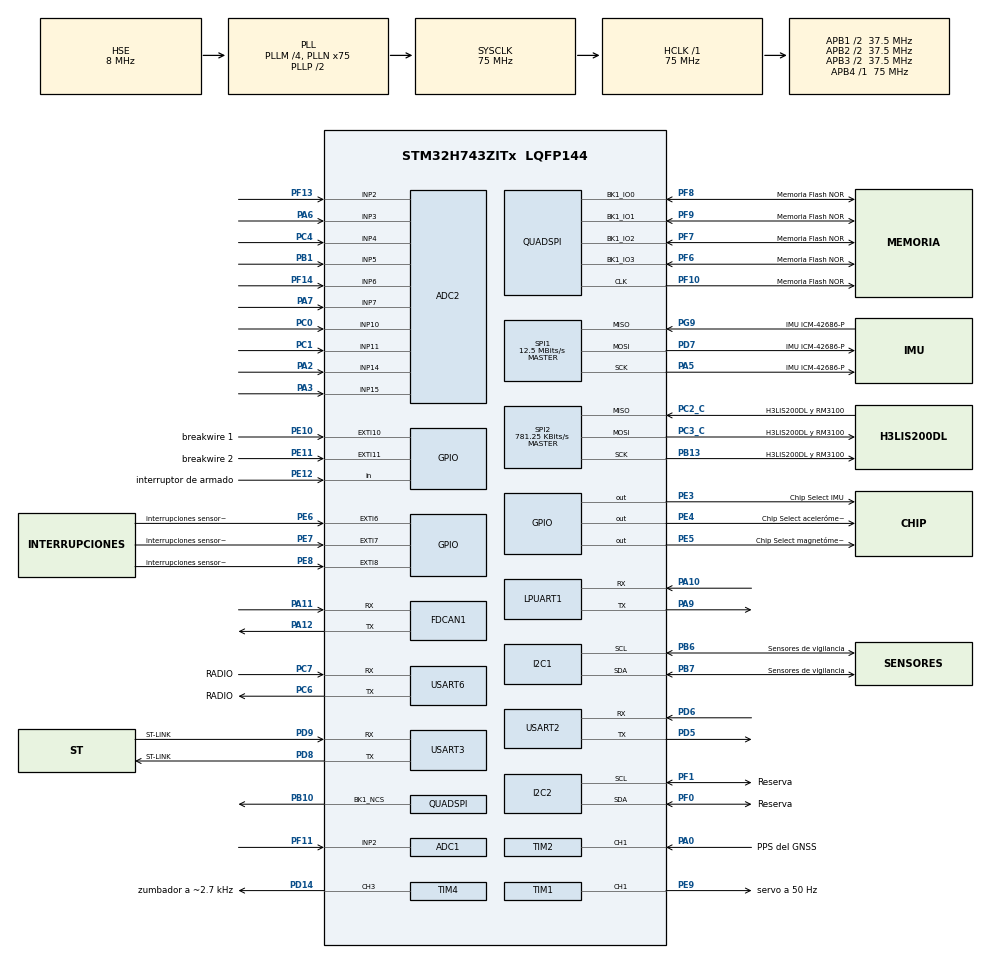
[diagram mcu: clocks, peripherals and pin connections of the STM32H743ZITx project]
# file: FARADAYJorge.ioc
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ADC1.Channel-0\#ChannelRegularConversion=ADC_CHANNEL_2
ADC1.ClockPrescaler=ADC_CLOCK_ASYNC_DIV4
ADC1.NbrOfConversionFlag=1
ADC1.OffsetNumber-0\#ChannelRegularConversion=ADC_OFFSET_NONE
ADC1.OffsetSignedSaturation-0\#ChannelRegularConversion=DISABLE
ADC1.Rank-0\#ChannelRegularConversion=1
ADC1.SamplingTime-0\#ChannelRegularConversion=ADC_SAMPLETIME_64CYCLES_5
ADC1.master=1
ADC2.Channel-1\#ChannelRegularConversion=ADC_CHANNEL_2
ADC2.Channel-10\#ChannelRegularConversion=ADC_CHANNEL_15
ADC2.Channel-2\#ChannelRegularConversion=ADC_CHANNEL_3
ADC2.Channel-3\#ChannelRegularConversion=ADC_CHANNEL_4
ADC2.Channel-4\#ChannelRegularConversion=ADC_CHANNEL_5
ADC2.Channel-5\#ChannelRegularConversion=ADC_CHANNEL_6
ADC2.Channel-6\#ChannelRegularConversion=ADC_CHANNEL_7
ADC2.Channel-7\#ChannelRegularConversion=ADC_CHANNEL_10
ADC2.Channel-8\#ChannelRegularConversion=ADC_CHANNEL_11
ADC2.Channel-9\#ChannelRegularConversion=ADC_CHANNEL_14
ADC2.ClockPrescaler=ADC_CLOCK_ASYNC_DIV4
ADC2.NbrOfConversion=10
ADC2.NbrOfConversionFlag=1
ADC2.OffsetNumber-1\#ChannelRegularConversion=ADC_OFFSET_NONE
ADC2.OffsetNumber-10\#ChannelRegularConversion=ADC_OFFSET_NONE
ADC2.OffsetNumber-2\#ChannelRegularConversion=ADC_OFFSET_NONE
ADC2.OffsetNumber-3\#ChannelRegularConversion=ADC_OFFSET_NONE
ADC2.OffsetNumber-4\#ChannelRegularConversion=ADC_OFFSET_NONE
ADC2.OffsetNumber-5\#ChannelRegularConversion=ADC_OFFSET_NONE
ADC2.OffsetNumber-6\#ChannelRegularConversion=ADC_OFFSET_NONE
ADC2.OffsetNumber-7\#ChannelRegularConversion=ADC_OFFSET_NONE
ADC2.OffsetNumber-8\#ChannelRegularConversion=ADC_OFFSET_NONE
ADC2.OffsetNumber-9\#ChannelRegularConversion=ADC_OFFSET_NONE
ADC2.OffsetSignedSaturation-1\#ChannelRegularConversion=DISABLE
ADC2.OffsetSignedSaturation-10\#ChannelRegularConversion=DISABLE
ADC2.OffsetSignedSaturation-2\#ChannelRegularConversion=DISABLE
ADC2.OffsetSignedSaturation-3\#ChannelRegularConversion=DISABLE
ADC2.OffsetSignedSaturation-4\#ChannelRegularConversion=DISABLE
ADC2.OffsetSignedSaturation-5\#ChannelRegularConversion=DISABLE
ADC2.OffsetSignedSaturation-6\#ChannelRegularConversion=DISABLE
ADC2.OffsetSignedSaturation-7\#ChannelRegularConversion=DISABLE
ADC2.OffsetSignedSaturation-8\#ChannelRegularConversion=DISABLE
ADC2.OffsetSignedSaturation-9\#ChannelRegularConversion=DISABLE
ADC2.Rank-1\#ChannelRegularConversion=1
ADC2.Rank-10\#ChannelRegularConversion=10
ADC2.Rank-2\#ChannelRegularConversion=2
ADC2.Rank-3\#ChannelRegularConversion=3
ADC2.Rank-4\#ChannelRegularConversion=4
ADC2.Rank-5\#ChannelRegularConversion=5
ADC2.Rank-6\#ChannelRegularConversion=6
ADC2.Rank-7\#ChannelRegularConversion=7
ADC2.Rank-8\#ChannelRegularConversion=8
ADC2.Rank-9\#ChannelRegularConversion=9
ADC2.SamplingTime-1\#ChannelRegularConversion=ADC_SAMPLETIME_64CYCLES_5
ADC2.SamplingTime-10\#ChannelRegularConversion=ADC_SAMPLETIME_64CYCLES_5
ADC2.SamplingTime-2\#ChannelRegularConversion=ADC_SAMPLETIME_64CYCLES_5
ADC2.SamplingTime-3\#ChannelRegularConversion=ADC_SAMPLETIME_64CYCLES_5
ADC2.SamplingTime-4\#ChannelRegularConversion=ADC_SAMPLETIME_64CYCLES_5
ADC2.SamplingTime-5\#ChannelRegularConversion=ADC_SAMPLETIME_64CYCLES_5
ADC2.SamplingTime-6\#ChannelRegularConversion=ADC_SAMPLETIME_64CYCLES_5
ADC2.SamplingTime-7\#ChannelRegularConversion=ADC_SAMPLETIME_64CYCLES_5
ADC2.SamplingTime-8\#ChannelRegularConversion=ADC_SAMPLETIME_64CYCLES_5
ADC2.SamplingTime-9\#ChannelRegularConversion=ADC_SAMPLETIME_64CYCLES_5
ADC2.ScanConvMode=ADC_SCAN_ENABLE
CORTEX_M7.default_mode_Activation=1
FDCAN1.CalculateBaudRateNominal=500000
FDCAN1.CalculateTimeBitNominal=2000
FDCAN1.CalculateTimeQuantumNominal=100.0
FDCAN1.NominalPrescaler=5
FDCAN1.NominalSyncJumpWidth=3
FDCAN1.NominalTimeSeg1=16
FDCAN1.NominalTimeSeg2=3
FDCAN1.RxFifo0ElmtsNbr=8
FDCAN1.StdFiltersNbr=1
FDCAN1.TxFifoQueueElmtsNbr=8
I2C1.Timing=0x00909FCE
I2C2.Timing=0x00909FCE
Mcu.Family=STM32H7
Mcu.Name=STM32H743ZITx
Mcu.Package=LQFP144
NVIC.EXTI15_10_IRQn=true\:0\:0\:false\:false\:true\:true\:true\:true
NVIC.EXTI9_5_IRQn=true\:0\:0\:false\:false\:true\:true\:true\:true
NVIC.PriorityGroup=NVIC_PRIORITYGROUP_4
PA0.GPIO_Label=PPS del GNSS
PA0.Signal=S_TIM2_CH1_ETR
PA10.Mode=Asynchronous
PA10.Signal=LPUART1_RX
PA11.Mode=FDCAN_Activate
PA11.Signal=FDCAN1_RX
PA12.Mode=FDCAN_Activate
PA12.Signal=FDCAN1_TX
PA13\ (JTMS/SWDIO).Signal=DEBUG_JTMS-SWDIO
PA14\ (JTCK/SWCLK).Signal=DEBUG_JTCK-SWCLK
PA2.Signal=ADCx_INP14
PA3.Signal=ADCx_INP15
PA5.GPIO_Label=IMU ICM-42686-P
PA5.Mode=Full_Duplex_Master
PA5.Signal=SPI1_SCK
PA6.Signal=ADCx_INP3
PA7.Signal=ADCx_INP7
PA9.Mode=Asynchronous
PA9.Signal=LPUART1_TX
PB1.Signal=ADCx_INP5
PB10.Mode=Single Bank 1
PB10.Signal=QUADSPI_BK1_NCS
PB13.GPIO_Label=H3LIS200DL y RM3100
PB13.Mode=Full_Duplex_Master
PB13.Signal=SPI2_SCK
PB6.GPIO_Label=Sensores de vigilancia
PB6.Mode=I2C
PB6.Signal=I2C1_SCL
PB7.GPIO_Label=Sensores de vigilancia
PB7.Mode=I2C
PB7.Signal=I2C1_SDA
PC0.Signal=ADCx_INP10
PC1.Signal=ADCx_INP11
PC2_C.GPIO_Label=H3LIS200DL y RM3100
PC2_C.Mode=Full_Duplex_Master
PC2_C.Signal=SPI2_MISO
PC3_C.GPIO_Label=H3LIS200DL y RM3100
PC3_C.Mode=Full_Duplex_Master
PC3_C.Signal=SPI2_MOSI
PC4.Signal=ADCx_INP4
PC6.GPIO_Label=RADIO
PC6.Mode=Asynchronous
PC6.Signal=USART6_TX
PC7.GPIO_Label=RADIO
PC7.Mode=Asynchronous
PC7.Signal=USART6_RX
PD14.GPIO_Label=zumbador a ~2.7 kHz
PD14.Signal=S_TIM4_CH3
PD5.Mode=Asynchronous
PD5.Signal=USART2_TX
PD6.Mode=Asynchronous
PD6.Signal=USART2_RX
PD7.GPIO_Label=IMU ICM-42686-P
PD7.Mode=Full_Duplex_Master
PD7.Signal=SPI1_MOSI
PD8.GPIO_Label=ST-LINK
PD8.Mode=Asynchronous
PD8.Signal=USART3_TX
PD9.GPIO_Label=ST-LINK
PD9.Mode=Asynchronous
PD9.Signal=USART3_RX
PE10.GPIO_Label=breakwire 1
PE10.GPIO_ModeDefaultEXTI=GPIO_MODE_IT_RISING_FALLING
PE10.GPIO_PuPd=GPIO_PULLUP
PE10.Signal=GPXTI10
PE11.GPIO_Label=breakwire 2
PE11.GPIO_ModeDefaultEXTI=GPIO_MODE_IT_RISING_FALLING
PE11.GPIO_PuPd=GPIO_PULLUP
PE11.Signal=GPXTI11
PE12.GPIO_Label=interruptor de armado
PE12.GPIO_PuPd=GPIO_PULLUP
PE12.Signal=GPIO_Input
PE3.GPIO_Label=Chip Select IMU
PE3.PinState=GPIO_PIN_SET
PE3.Signal=GPIO_Output
PE4.GPIO_Label=Chip Select aceler\u00F3metro de altas g
PE4.PinState=GPIO_PIN_SET
PE4.Signal=GPIO_Output
PE5.GPIO_Label=Chip Select magnet\u00F3metro
PE5.PinState=GPIO_PIN_SET
PE5.Signal=GPIO_Output
PE6.GPIO_Label=interrupciones sensores
PE6.Signal=GPXTI6
PE7.GPIO_Label=interrupciones sensores
PE7.Signal=GPXTI7
PE8.GPIO_Label=interrupciones sensores
PE8.Signal=GPXTI8
PE9.GPIO_Label=servo a 50 Hz
PE9.Signal=S_TIM1_CH1
PF0.GPIO_Label=Reserva
PF0.Mode=I2C
PF0.Signal=I2C2_SDA
PF1.GPIO_Label=Reserva
PF1.Mode=I2C
PF1.Signal=I2C2_SCL
PF10.GPIO_Label=Memoria Flash NOR
PF10.Mode=Single Bank 1
PF10.Signal=QUADSPI_CLK
PF11.Mode=IN2-Single-Ended
PF11.Signal=ADC1_INP2
PF13.Mode=IN2-Single-Ended
PF13.Signal=ADC2_INP2
PF14.Mode=IN6-Single-Ended
PF14.Signal=ADC2_INP6
PF6.GPIO_Label=Memoria Flash NOR
PF6.Mode=Single Bank 1
PF6.Signal=QUADSPI_BK1_IO3
PF7.GPIO_Label=Memoria Flash NOR
PF7.Mode=Single Bank 1
PF7.Signal=QUADSPI_BK1_IO2
PF8.GPIO_Label=Memoria Flash NOR
PF8.Mode=Single Bank 1
PF8.Signal=QUADSPI_BK1_IO0
PF9.GPIO_Label=Memoria Flash NOR
PF9.Mode=Single Bank 1
PF9.Signal=QUADSPI_BK1_IO1
PG9.GPIO_Label=IMU ICM-42686-P
PG9.Mode=Full_Duplex_Master
PG9.Signal=SPI1_MISO
PH0-OSC_IN\ (PH0).Mode=HSE-External-Clock-Source
PH0-OSC_IN\ (PH0).Signal=RCC_OSC_IN
PH1-OSC_OUT\ (PH1).Signal=RCC_OSC_OUT
ProjectManager.HeapSize=0x200
ProjectManager.StackSize=0x400
ProjectManager.TargetToolchain=STM32CubeIDE
RCC.ADCFreq_Value=75000000
RCC.APB1Freq_Value=37500000
RCC.APB2Freq_Value=37500000
RCC.APB3Freq_Value=37500000
RCC.APB4Freq_Value=75000000
RCC.CortexFreq_Value=75000000
RCC.D1PPRE=RCC_APB3_DIV2
RCC.D2PPRE1=RCC_APB1_DIV2
RCC.D2PPRE2=RCC_APB2_DIV2
RCC.DIVM1=4
RCC.DIVM2=4
RCC.DIVN1=75
RCC.DIVN2=75
RCC.DIVQ1=3
RCC.HCLKFreq_Value=75000000
RCC.HSE_VALUE=8000000
RCC.PLL1_VCI_Range=RCC_PLL1VCIRANGE_1
RCC.PLL2FRACN=0
RCC.PLL2_VCI_Range=RCC_PLL2VCIRANGE_1
RCC.PLL2_VCI_Range-AdvancedSettings=RCC_PLL2VCIRANGE_0
RCC.PLL3FRACN=0
RCC.PLL3_VCI_Range-AdvancedSettings=RCC_PLL3VCIRANGE_0
RCC.PLLFRACN=0
RCC.PLLSourceVirtual=RCC_PLLSOURCE_HSE
RCC.SYSCLKFreq_VALUE=75000000
RCC.SYSCLKSource=RCC_SYSCLKSOURCE_PLLCLK
RCC.USBFreq_Value=50000000
SH.ADCx_INP10.0=ADC2_INP10,IN10-Single-Ended
SH.ADCx_INP11.0=ADC2_INP11,IN11-Single-Ended
SH.ADCx_INP14.0=ADC2_INP14,IN14-Single-Ended
SH.ADCx_INP15.0=ADC2_INP15,IN15-Single-Ended
SH.ADCx_INP3.0=ADC2_INP3,IN3-Single-Ended
SH.ADCx_INP4.0=ADC2_INP4,IN4-Single-Ended
SH.ADCx_INP5.0=ADC2_INP5,IN5-Single-Ended
SH.ADCx_INP7.0=ADC2_INP7,IN7-Single-Ended
SH.S_TIM1_CH1.0=TIM1_CH1,PWM Generation1 CH1
SH.S_TIM2_CH1_ETR.0=TIM2_CH1,Input_Capture1_from_TI1
SH.S_TIM4_CH3.0=TIM4_CH3,PWM Generation3 CH3
SPI1.BaudRatePrescaler=SPI_BAUDRATEPRESCALER_4
SPI1.CLKPhase=SPI_PHASE_2EDGE
SPI1.CLKPolarity=SPI_POLARITY_HIGH
SPI1.CalculateBaudRate=12.5 MBits/s
SPI1.DataSize=SPI_DATASIZE_8BIT
SPI1.Direction=SPI_DIRECTION_2LINES
SPI1.MasterKeepIOState=SPI_MASTER_KEEP_IO_STATE_ENABLE
SPI1.Mode=SPI_MODE_MASTER
SPI1.VirtualType=VM_MASTER
SPI2.BaudRatePrescaler=SPI_BAUDRATEPRESCALER_64
SPI2.CLKPhase=SPI_PHASE_2EDGE
SPI2.CLKPolarity=SPI_POLARITY_HIGH
SPI2.CalculateBaudRate=781.25 KBits/s
SPI2.DataSize=SPI_DATASIZE_8BIT
SPI2.Direction=SPI_DIRECTION_2LINES
SPI2.MasterKeepIOState=SPI_MASTER_KEEP_IO_STATE_ENABLE
SPI2.Mode=SPI_MODE_MASTER
SPI2.VirtualType=VM_MASTER
TIM1.Channel-PWM\ Generation1\ CH1=TIM_CHANNEL_1
TIM1.Period=19999
TIM1.Prescaler=74
TIM1.Pulse-PWM\ Generation1\ CH1=1500
TIM2.Channel-Input_Capture1_from_TI1=TIM_CHANNEL_1
TIM2.Prescaler=74
TIM4.Channel-PWM\ Generation3\ CH3=TIM_CHANNEL_3
TIM4.Period=369
TIM4.Prescaler=74
TIM4.Pulse-PWM\ Generation3\ CH3=185
USART2.VirtualMode-Asynchronous=VM_ASYNC
USART3.VirtualMode-Asynchronous=VM_ASYNC
USART6.VirtualMode-Asynchronous=VM_ASYNC
VP_MEMORYMAP_VS_MEMORYMAP.Mode=CurAppReg
board=custom

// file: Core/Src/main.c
/* USER CODE BEGIN Header */
/**
  ******************************************************************************
  * @file           : main.c
  * @brief          : Main program body
  ******************************************************************************
  * @attention
  *
  * Copyright (c) 2026 STMicroelectronics.
  * All rights reserved.
  *
  * This software is licensed under terms that can be found in the LICENSE file
  * in the root directory of this software component.
  * If no LICENSE file comes with this software, it is provided AS-IS.
  *
  ******************************************************************************
  */
/* USER CODE END Header */
#include "main.h"

/* USER CODE BEGIN Includes */
#include <stdio.h>
#include "sensors/sensors.h"
/* USER CODE END Includes */

ADC_HandleTypeDef hadc1;
ADC_HandleTypeDef hadc2;

FDCAN_HandleTypeDef hfdcan1;

I2C_HandleTypeDef hi2c1;
I2C_HandleTypeDef hi2c2;

UART_HandleTypeDef hlpuart1;
UART_HandleTypeDef huart2;
UART_HandleTypeDef huart3;
UART_HandleTypeDef huart6;

QSPI_HandleTypeDef hqspi;

SPI_HandleTypeDef hspi1;
SPI_HandleTypeDef hspi2;

TIM_HandleTypeDef htim1;
TIM_HandleTypeDef htim2;
TIM_HandleTypeDef htim4;

/* USER CODE BEGIN PV */
static sensors_health_t   salud;   /* estado de cada sensor */
static sensors_snapshot_t datos;   /* última lectura de todos */
/* USER CODE END PV */

void SystemClock_Config(void);
void PeriphCommonClock_Config(void);
static void MPU_Config(void);
static void MX_GPIO_Init(void);
static void MX_ADC1_Init(void);
static void MX_ADC2_Init(void);
static void MX_FDCAN1_Init(void);
static void MX_I2C1_Init(void);
static void MX_I2C2_Init(void);
static void MX_LPUART1_UART_Init(void);
static void MX_USART2_UART_Init(void);
static void MX_USART3_UART_Init(void);
static void MX_USART6_UART_Init(void);
static void MX_QUADSPI_Init(void);
static void MX_SPI1_Init(void);
static void MX_SPI2_Init(void);
static void MX_TIM1_Init(void);
static void MX_TIM2_Init(void);
static void MX_TIM4_Init(void);

/* USER CODE BEGIN 0 */
/* printf() de newlib acaba llamando a __io_putchar() por cada carácter (ver syscalls.c).
 * Lo mandamos por USART3, que en la Nucleo sale por el USB del ST-LINK como puerto COM. */
int __io_putchar(int ch)
{
  HAL_UART_Transmit(&huart3, (uint8_t *)&ch, 1, 10);
  return ch;
}
/* USER CODE END 0 */

int main(void)
{

  /* MPU Configuration--------------------------------------------------------*/
  MPU_Config();

  /* MCU Configuration--------------------------------------------------------*/

  /* Reset of all peripherals, Initializes the Flash interface and the Systick. */
  HAL_Init();

  /* Configure the system clock */
  SystemClock_Config();

  /* Configure the peripherals common clocks */
  PeriphCommonClock_Config();

  /* Initialize all configured peripherals */
  MX_GPIO_Init();
  MX_ADC1_Init();
  MX_ADC2_Init();
  MX_FDCAN1_Init();
  MX_I2C1_Init();
  MX_I2C2_Init();
  MX_LPUART1_UART_Init();
  MX_USART2_UART_Init();
  MX_USART3_UART_Init();
  MX_USART6_UART_Init();
  MX_QUADSPI_Init();
  MX_SPI1_Init();
  MX_SPI2_Init();
  MX_TIM1_Init();
  MX_TIM2_Init();
  MX_TIM4_Init();
  /* USER CODE BEGIN 2 */
  printf("\r\nFARADAY avionica: arranque OK, SYSCLK = %lu Hz\r\n", HAL_RCC_GetSysClockFreq());

  /* Inicializar todos los sensores e informar de cuáles responden (prueba de integración). */
  sensors_init(&salud);
  printf("IMU ICM-42686-P : %s\r\n", sens_status_str(salud.imu));
  printf("Acel. H3LIS200DL: %s\r\n", sens_status_str(salud.hig));
  printf("Magn. RM3100    : %s\r\n", sens_status_str(salud.mag));
  printf("Baro. MS5607    : %s\r\n", sens_status_str(salud.baro));
  printf("INA226 vuelo    : %s\r\n", sens_status_str(salud.bat_vuelo));
  printf("INA226 recup.   : %s\r\n", sens_status_str(salud.bat_recup));
  /* USER CODE END 2 */

  /* Infinite loop */
  while (1)
  {

    /* USER CODE BEGIN 3 */
    sensors_read_all(&salud, &datos);

    /* printf con %f necesita activar el soporte de float en newlib-nano: se imprimen
     * enteros escalados (mili-g, décimas de °/s, Pa) para no depender de ello. */
    printf("t=%lu ms | acc[mg] %d %d %d | gyr[0.1dps] %d %d %d | P=%ld Pa | Vbat=%d mV\r\n",
           datos.t_ms,
           (int)(datos.imu.ax_g * 1000), (int)(datos.imu.ay_g * 1000), (int)(datos.imu.az_g * 1000),
           (int)(datos.imu.gx_dps * 10), (int)(datos.imu.gy_dps * 10), (int)(datos.imu.gz_dps * 10),
           (long)datos.baro.pressure_pa, (int)(datos.bat_vuelo.bus_v * 1000));
    HAL_Delay(100);   /* 10 Hz para la consola; el bucle de vuelo real irá por tareas e interrupciones */
  }
  /* USER CODE END 3 */
}

void SystemClock_Config(void)
{
  RCC_OscInitTypeDef RCC_OscInitStruct = {0};
  RCC_ClkInitTypeDef RCC_ClkInitStruct = {0};

  /** Supply configuration update enable
  */
  HAL_PWREx_ConfigSupply(PWR_LDO_SUPPLY);

  /** Configure the main internal regulator output voltage
  */
  __HAL_PWR_VOLTAGESCALING_CONFIG(PWR_REGULATOR_VOLTAGE_SCALE3);

  while(!__HAL_PWR_GET_FLAG(PWR_FLAG_VOSRDY)) {}

  /** Initializes the RCC Oscillators according to the specified parameters
  * in the RCC_OscInitTypeDef structure.
  */
  RCC_OscInitStruct.OscillatorType = RCC_OSCILLATORTYPE_HSE;
  RCC_OscInitStruct.HSEState = RCC_HSE_BYPASS;
  RCC_OscInitStruct.PLL.PLLState = RCC_PLL_ON;
  RCC_OscInitStruct.PLL.PLLSource = RCC_PLLSOURCE_HSE;
  RCC_OscInitStruct.PLL.PLLM = 4;
  RCC_OscInitStruct.PLL.PLLN = 75;
  RCC_OscInitStruct.PLL.PLLP = 2;
  RCC_OscInitStruct.PLL.PLLQ = 3;
  RCC_OscInitStruct.PLL.PLLR = 2;
  RCC_OscInitStruct.PLL.PLLRGE = RCC_PLL1VCIRANGE_1;
  RCC_OscInitStruct.PLL.PLLVCOSEL = RCC_PLL1VCOMEDIUM;
  RCC_OscInitStruct.PLL.PLLFRACN = 0;
  if (HAL_RCC_OscConfig(&RCC_OscInitStruct) != HAL_OK)
  {
    Error_Handler();
  }

  /** Initializes the CPU, AHB and APB buses clocks
  */
  RCC_ClkInitStruct.ClockType = RCC_CLOCKTYPE_HCLK|RCC_CLOCKTYPE_SYSCLK
                              |RCC_CLOCKTYPE_PCLK1|RCC_CLOCKTYPE_PCLK2
                              |RCC_CLOCKTYPE_D3PCLK1|RCC_CLOCKTYPE_D1PCLK1;
  RCC_ClkInitStruct.SYSCLKSource = RCC_SYSCLKSOURCE_PLLCLK;
  RCC_ClkInitStruct.SYSCLKDivider = RCC_SYSCLK_DIV1;
  RCC_ClkInitStruct.AHBCLKDivider = RCC_HCLK_DIV1;
  RCC_ClkInitStruct.APB3CLKDivider = RCC_APB3_DIV2;
  RCC_ClkInitStruct.APB1CLKDivider = RCC_APB1_DIV2;
  RCC_ClkInitStruct.APB2CLKDivider = RCC_APB2_DIV2;
  RCC_ClkInitStruct.APB4CLKDivider = RCC_APB4_DIV1;

  if (HAL_RCC_ClockConfig(&RCC_ClkInitStruct, FLASH_LATENCY_1) != HAL_OK)
  {
    Error_Handler();
  }
}

void PeriphCommonClock_Config(void)
{
  RCC_PeriphCLKInitTypeDef PeriphClkInitStruct = {0};

  /** Initializes the peripherals clock
  */
  PeriphClkInitStruct.PeriphClockSelection = RCC_PERIPHCLK_ADC;
  PeriphClkInitStruct.PLL2.PLL2M = 4;
  PeriphClkInitStruct.PLL2.PLL2N = 75;
  PeriphClkInitStruct.PLL2.PLL2P = 2;
  PeriphClkInitStruct.PLL2.PLL2Q = 2;
  PeriphClkInitStruct.PLL2.PLL2R = 2;
  PeriphClkInitStruct.PLL2.PLL2RGE = RCC_PLL2VCIRANGE_1;
  PeriphClkInitStruct.PLL2.PLL2VCOSEL = RCC_PLL2VCOMEDIUM;
  PeriphClkInitStruct.PLL2.PLL2FRACN = 0;
  PeriphClkInitStruct.AdcClockSelection = RCC_ADCCLKSOURCE_PLL2;
  if (HAL_RCCEx_PeriphCLKConfig(&PeriphClkInitStruct) != HAL_OK)
  {
    Error_Handler();
  }
}

static void MX_ADC1_Init(void)
{

  ADC_MultiModeTypeDef multimode = {0};
  ADC_ChannelConfTypeDef sConfig = {0};

  /** Common config
  */
  hadc1.Instance = ADC1;
  hadc1.Init.ClockPrescaler = ADC_CLOCK_ASYNC_DIV4;
  hadc1.Init.Resolution = ADC_RESOLUTION_16B;
  hadc1.Init.ScanConvMode = ADC_SCAN_DISABLE;
  hadc1.Init.EOCSelection = ADC_EOC_SINGLE_CONV;
  hadc1.Init.LowPowerAutoWait = DISABLE;
  hadc1.Init.ContinuousConvMode = DISABLE;
  hadc1.Init.NbrOfConversion = 1;
  hadc1.Init.DiscontinuousConvMode = DISABLE;
  hadc1.Init.ExternalTrigConv = ADC_SOFTWARE_START;
  hadc1.Init.ExternalTrigConvEdge = ADC_EXTERNALTRIGCONVEDGE_NONE;
  hadc1.Init.ConversionDataManagement = ADC_CONVERSIONDATA_DR;
  hadc1.Init.Overrun = ADC_OVR_DATA_PRESERVED;
  hadc1.Init.LeftBitShift = ADC_LEFTBITSHIFT_NONE;
  hadc1.Init.OversamplingMode = DISABLE;
  hadc1.Init.Oversampling.Ratio = 1;
  if (HAL_ADC_Init(&hadc1) != HAL_OK)
  {
    Error_Handler();
  }

  /** Configure the ADC multi-mode
  */
  multimode.Mode = ADC_MODE_INDEPENDENT;
  if (HAL_ADCEx_MultiModeConfigChannel(&hadc1, &multimode) != HAL_OK)
  {
    Error_Handler();
  }

  /** Configure Regular Channel
  */
  sConfig.Channel = ADC_CHANNEL_2;
  sConfig.Rank = ADC_REGULAR_RANK_1;
  sConfig.SamplingTime = ADC_SAMPLETIME_64CYCLES_5;
  sConfig.SingleDiff = ADC_SINGLE_ENDED;
  sConfig.OffsetNumber = ADC_OFFSET_NONE;
  sConfig.Offset = 0;
  sConfig.OffsetSignedSaturation = DISABLE;
  if (HAL_ADC_ConfigChannel(&hadc1, &sConfig) != HAL_OK)
  {
    Error_Handler();
  }

}

static void MX_ADC2_Init(void)
{

  ADC_ChannelConfTypeDef sConfig = {0};

  /** Common config
  */
  hadc2.Instance = ADC2;
  hadc2.Init.ClockPrescaler = ADC_CLOCK_ASYNC_DIV4;
  hadc2.Init.Resolution = ADC_RESOLUTION_16B;
  hadc2.Init.ScanConvMode = ADC_SCAN_ENABLE;
  hadc2.Init.EOCSelection = ADC_EOC_SINGLE_CONV;
  hadc2.Init.LowPowerAutoWait = DISABLE;
  hadc2.Init.ContinuousConvMode = DISABLE;
  hadc2.Init.NbrOfConversion = 10;
  hadc2.Init.DiscontinuousConvMode = DISABLE;
  hadc2.Init.ExternalTrigConv = ADC_SOFTWARE_START;
  hadc2.Init.ExternalTrigConvEdge = ADC_EXTERNALTRIGCONVEDGE_NONE;
  hadc2.Init.ConversionDataManagement = ADC_CONVERSIONDATA_DR;
  hadc2.Init.Overrun = ADC_OVR_DATA_PRESERVED;
  hadc2.Init.LeftBitShift = ADC_LEFTBITSHIFT_NONE;
  hadc2.Init.OversamplingMode = DISABLE;
  hadc2.Init.Oversampling.Ratio = 1;
  if (HAL_ADC_Init(&hadc2) != HAL_OK)
  {
    Error_Handler();
  }

  /** Configure Regular Channel
  */
  sConfig.Channel = ADC_CHANNEL_2;
  sConfig.Rank = ADC_REGULAR_RANK_1;
  sConfig.SamplingTime = ADC_SAMPLETIME_64CYCLES_5;
  sConfig.SingleDiff = ADC_SINGLE_ENDED;
  sConfig.OffsetNumber = ADC_OFFSET_NONE;
  sConfig.Offset = 0;
  sConfig.OffsetSignedSaturation = DISABLE;
  if (HAL_ADC_ConfigChannel(&hadc2, &sConfig) != HAL_OK)
  {
    Error_Handler();
  }

  /** Configure Regular Channel
  */
  sConfig.Channel = ADC_CHANNEL_3;
  sConfig.Rank = ADC_REGULAR_RANK_2;
  if (HAL_ADC_ConfigChannel(&hadc2, &sConfig) != HAL_OK)
  {
    Error_Handler();
  }

  /** Configure Regular Channel
  */
  sConfig.Channel = ADC_CHANNEL_4;
  sConfig.Rank = ADC_REGULAR_RANK_3;
  if (HAL_ADC_ConfigChannel(&hadc2, &sConfig) != HAL_OK)
  {
    Error_Handler();
  }

  /** Configure Regular Channel
  */
  sConfig.Channel = ADC_CHANNEL_5;
  sConfig.Rank = ADC_REGULAR_RANK_4;
  if (HAL_ADC_ConfigChannel(&hadc2, &sConfig) != HAL_OK)
  {
    Error_Handler();
  }

  /** Configure Regular Channel
  */
  sConfig.Channel = ADC_CHANNEL_6;
  sConfig.Rank = ADC_REGULAR_RANK_5;
  if (HAL_ADC_ConfigChannel(&hadc2, &sConfig) != HAL_OK)
  {
    Error_Handler();
  }

  /** Configure Regular Channel
  */
  sConfig.Channel = ADC_CHANNEL_7;
  sConfig.Rank = ADC_REGULAR_RANK_6;
  if (HAL_ADC_ConfigChannel(&hadc2, &sConfig) != HAL_OK)
  {
    Error_Handler();
  }

  /** Configure Regular Channel
  */
  sConfig.Channel = ADC_CHANNEL_10;
  sConfig.Rank = ADC_REGULAR_RANK_7;
  if (HAL_ADC_ConfigChannel(&hadc2, &sConfig) != HAL_OK)
  {
    Error_Handler();
  }

  /** Configure Regular Channel
  */
  sConfig.Channel = ADC_CHANNEL_11;
  sConfig.Rank = ADC_REGULAR_RANK_8;
  if (HAL_ADC_ConfigChannel(&hadc2, &sConfig) != HAL_OK)
  {
    Error_Handler();
  }

  /** Configure Regular Channel
  */
  sConfig.Channel = ADC_CHANNEL_14;
  sConfig.Rank = ADC_REGULAR_RANK_9;
  if (HAL_ADC_ConfigChannel(&hadc2, &sConfig) != HAL_OK)
  {
    Error_Handler();
  }

  /** Configure Regular Channel
  */
  sConfig.Channel = ADC_CHANNEL_15;
  sConfig.Rank = ADC_REGULAR_RANK_10;
  if (HAL_ADC_ConfigChannel(&hadc2, &sConfig) != HAL_OK)
  {
    Error_Handler();
  }

}

static void MX_FDCAN1_Init(void)
{

  hfdcan1.Instance = FDCAN1;
  hfdcan1.Init.FrameFormat = FDCAN_FRAME_CLASSIC;
  hfdcan1.Init.Mode = FDCAN_MODE_NORMAL;
  hfdcan1.Init.AutoRetransmission = DISABLE;
  hfdcan1.Init.TransmitPause = DISABLE;
  hfdcan1.Init.ProtocolException = DISABLE;
  hfdcan1.Init.NominalPrescaler = 5;
  hfdcan1.Init.NominalSyncJumpWidth = 3;
  hfdcan1.Init.NominalTimeSeg1 = 16;
  hfdcan1.Init.NominalTimeSeg2 = 3;
  hfdcan1.Init.DataPrescaler = 1;
  hfdcan1.Init.DataSyncJumpWidth = 1;
  hfdcan1.Init.DataTimeSeg1 = 1;
  hfdcan1.Init.DataTimeSeg2 = 1;
  hfdcan1.Init.MessageRAMOffset = 0;
  hfdcan1.Init.StdFiltersNbr = 1;
  hfdcan1.Init.ExtFiltersNbr = 0;
  hfdcan1.Init.RxFifo0ElmtsNbr = 8;
  hfdcan1.Init.RxFifo0ElmtSize = FDCAN_DATA_BYTES_8;
  hfdcan1.Init.RxFifo1ElmtsNbr = 0;
  hfdcan1.Init.RxFifo1ElmtSize = FDCAN_DATA_BYTES_8;
  hfdcan1.Init.RxBuffersNbr = 0;
  hfdcan1.Init.RxBufferSize = FDCAN_DATA_BYTES_8;
  hfdcan1.Init.TxEventsNbr = 0;
  hfdcan1.Init.TxBuffersNbr = 0;
  hfdcan1.Init.TxFifoQueueElmtsNbr = 8;
  hfdcan1.Init.TxFifoQueueMode = FDCAN_TX_FIFO_OPERATION;
  hfdcan1.Init.TxElmtSize = FDCAN_DATA_BYTES_8;
  if (HAL_FDCAN_Init(&hfdcan1) != HAL_OK)
  {
    Error_Handler();
  }

}

static void MX_I2C1_Init(void)
{

  hi2c1.Instance = I2C1;
  hi2c1.Init.Timing = 0x00909FCE;
  hi2c1.Init.OwnAddress1 = 0;
  hi2c1.Init.AddressingMode = I2C_ADDRESSINGMODE_7BIT;
  hi2c1.Init.DualAddressMode = I2C_DUALADDRESS_DISABLE;
  hi2c1.Init.OwnAddress2 = 0;
  hi2c1.Init.OwnAddress2Masks = I2C_OA2_NOMASK;
  hi2c1.Init.GeneralCallMode = I2C_GENERALCALL_DISABLE;
  hi2c1.Init.NoStretchMode = I2C_NOSTRETCH_DISABLE;
  if (HAL_I2C_Init(&hi2c1) != HAL_OK)
  {
    Error_Handler();
  }

  /** Configure Analogue filter
  */
  if (HAL_I2CEx_ConfigAnalogFilter(&hi2c1, I2C_ANALOGFILTER_ENABLE) != HAL_OK)
  {
    Error_Handler();
  }

  /** Configure Digital filter
  */
  if (HAL_I2CEx_ConfigDigitalFilter(&hi2c1, 0) != HAL_OK)
  {
    Error_Handler();
  }

}

static void MX_I2C2_Init(void)
{

  hi2c2.Instance = I2C2;
  hi2c2.Init.Timing = 0x00909FCE;
  hi2c2.Init.OwnAddress1 = 0;
  hi2c2.Init.AddressingMode = I2C_ADDRESSINGMODE_7BIT;
  hi2c2.Init.DualAddressMode = I2C_DUALADDRESS_DISABLE;
  hi2c2.Init.OwnAddress2 = 0;
  hi2c2.Init.OwnAddress2Masks = I2C_OA2_NOMASK;
  hi2c2.Init.GeneralCallMode = I2C_GENERALCALL_DISABLE;
  hi2c2.Init.NoStretchMode = I2C_NOSTRETCH_DISABLE;
  if (HAL_I2C_Init(&hi2c2) != HAL_OK)
  {
    Error_Handler();
  }

  /** Configure Analogue filter
  */
  if (HAL_I2CEx_ConfigAnalogFilter(&hi2c2, I2C_ANALOGFILTER_ENABLE) != HAL_OK)
  {
    Error_Handler();
  }

  /** Configure Digital filter
  */
  if (HAL_I2CEx_ConfigDigitalFilter(&hi2c2, 0) != HAL_OK)
  {
    Error_Handler();
  }

}

static void MX_LPUART1_UART_Init(void)
{

  hlpuart1.Instance = LPUART1;
  hlpuart1.Init.BaudRate = 209700;
  hlpuart1.Init.WordLength = UART_WORDLENGTH_8B;
  hlpuart1.Init.StopBits = UART_STOPBITS_1;
  hlpuart1.Init.Parity = UART_PARITY_NONE;
  hlpuart1.Init.Mode = UART_MODE_TX_RX;
  hlpuart1.Init.HwFlowCtl = UART_HWCONTROL_NONE;
  hlpuart1.Init.OneBitSampling = UART_ONE_BIT_SAMPLE_DISABLE;
  hlpuart1.Init.ClockPrescaler = UART_PRESCALER_DIV1;
  hlpuart1.AdvancedInit.AdvFeatureInit = UART_ADVFEATURE_NO_INIT;
  hlpuart1.FifoMode = UART_FIFOMODE_DISABLE;
  if (HAL_UART_Init(&hlpuart1) != HAL_OK)
  {
    Error_Handler();
  }
  if (HAL_UARTEx_SetTxFifoThreshold(&hlpuart1, UART_TXFIFO_THRESHOLD_1_8) != HAL_OK)
  {
    Error_Handler();
  }
  if (HAL_UARTEx_SetRxFifoThreshold(&hlpuart1, UART_RXFIFO_THRESHOLD_1_8) != HAL_OK)
  {
    Error_Handler();
  }
  if (HAL_UARTEx_DisableFifoMode(&hlpuart1) != HAL_OK)
  {
    Error_Handler();
  }

}

static void MX_USART2_UART_Init(void)
{

  huart2.Instance = USART2;
  huart2.Init.BaudRate = 115200;
  huart2.Init.WordLength = UART_WORDLENGTH_8B;
  huart2.Init.StopBits = UART_STOPBITS_1;
  huart2.Init.Parity = UART_PARITY_NONE;
  huart2.Init.Mode = UART_MODE_TX_RX;
  huart2.Init.HwFlowCtl = UART_HWCONTROL_NONE;
  huart2.Init.OverSampling = UART_OVERSAMPLING_16;
  huart2.Init.OneBitSampling = UART_ONE_BIT_SAMPLE_DISABLE;
  huart2.Init.ClockPrescaler = UART_PRESCALER_DIV1;
  huart2.AdvancedInit.AdvFeatureInit = UART_ADVFEATURE_NO_INIT;
  if (HAL_UART_Init(&huart2) != HAL_OK)
  {
    Error_Handler();
  }
  if (HAL_UARTEx_SetTxFifoThreshold(&huart2, UART_TXFIFO_THRESHOLD_1_8) != HAL_OK)
  {
    Error_Handler();
  }
  if (HAL_UARTEx_SetRxFifoThreshold(&huart2, UART_RXFIFO_THRESHOLD_1_8) != HAL_OK)
  {
    Error_Handler();
  }
  if (HAL_UARTEx_DisableFifoMode(&huart2) != HAL_OK)
  {
    Error_Handler();
  }

}

static void MX_USART3_UART_Init(void)
{

  huart3.Instance = USART3;
  huart3.Init.BaudRate = 115200;
  huart3.Init.WordLength = UART_WORDLENGTH_8B;
  huart3.Init.StopBits = UART_STOPBITS_1;
  huart3.Init.Parity = UART_PARITY_NONE;
  huart3.Init.Mode = UART_MODE_TX_RX;
  huart3.Init.HwFlowCtl = UART_HWCONTROL_NONE;
  huart3.Init.OverSampling = UART_OVERSAMPLING_16;
  huart3.Init.OneBitSampling = UART_ONE_BIT_SAMPLE_DISABLE;
  huart3.Init.ClockPrescaler = UART_PRESCALER_DIV1;
  huart3.AdvancedInit.AdvFeatureInit = UART_ADVFEATURE_NO_INIT;
  if (HAL_UART_Init(&huart3) != HAL_OK)
  {
    Error_Handler();
  }
  if (HAL_UARTEx_SetTxFifoThreshold(&huart3, UART_TXFIFO_THRESHOLD_1_8) != HAL_OK)
  {
    Error_Handler();
  }
  if (HAL_UARTEx_SetRxFifoThreshold(&huart3, UART_RXFIFO_THRESHOLD_1_8) != HAL_OK)
  {
    Error_Handler();
  }
  if (HAL_UARTEx_DisableFifoMode(&huart3) != HAL_OK)
  {
    Error_Handler();
  }

}

static void MX_USART6_UART_Init(void)
{

  huart6.Instance = USART6;
  huart6.Init.BaudRate = 115200;
  huart6.Init.WordLength = UART_WORDLENGTH_8B;
  huart6.Init.StopBits = UART_STOPBITS_1;
  huart6.Init.Parity = UART_PARITY_NONE;
  huart6.Init.Mode = UART_MODE_TX_RX;
  huart6.Init.HwFlowCtl = UART_HWCONTROL_NONE;
  huart6.Init.OverSampling = UART_OVERSAMPLING_16;
  huart6.Init.OneBitSampling = UART_ONE_BIT_SAMPLE_DISABLE;
  huart6.Init.ClockPrescaler = UART_PRESCALER_DIV1;
  huart6.AdvancedInit.AdvFeatureInit = UART_ADVFEATURE_NO_INIT;
  if (HAL_UART_Init(&huart6) != HAL_OK)
  {
    Error_Handler();
  }
  if (HAL_UARTEx_SetTxFifoThreshold(&huart6, UART_TXFIFO_THRESHOLD_1_8) != HAL_OK)
  {
    Error_Handler();
  }
  if (HAL_UARTEx_SetRxFifoThreshold(&huart6, UART_RXFIFO_THRESHOLD_1_8) != HAL_OK)
  {
    Error_Handler();
  }
  if (HAL_UARTEx_DisableFifoMode(&huart6) != HAL_OK)
  {
    Error_Handler();
  }

}

static void MX_QUADSPI_Init(void)
{

  /* QUADSPI parameter configuration*/
  hqspi.Instance = QUADSPI;
  hqspi.Init.ClockPrescaler = 255;
  hqspi.Init.FifoThreshold = 1;
  hqspi.Init.SampleShifting = QSPI_SAMPLE_SHIFTING_NONE;
  hqspi.Init.FlashSize = 1;
  hqspi.Init.ChipSelectHighTime = QSPI_CS_HIGH_TIME_1_CYCLE;
  hqspi.Init.ClockMode = QSPI_CLOCK_MODE_0;
  hqspi.Init.FlashID = QSPI_FLASH_ID_1;
  hqspi.Init.DualFlash = QSPI_DUALFLASH_DISABLE;
  if (HAL_QSPI_Init(&hqspi) != HAL_OK)
  {
    Error_Handler();
  }

}

static void MX_SPI1_Init(void)
{

  /* SPI1 parameter configuration*/
  hspi1.Instance = SPI1;
  hspi1.Init.Mode = SPI_MODE_MASTER;
  hspi1.Init.Direction = SPI_DIRECTION_2LINES;
  hspi1.Init.DataSize = SPI_DATASIZE_8BIT;
  hspi1.Init.CLKPolarity = SPI_POLARITY_HIGH;
  hspi1.Init.CLKPhase = SPI_PHASE_2EDGE;
  hspi1.Init.NSS = SPI_NSS_SOFT;
  hspi1.Init.BaudRatePrescaler = SPI_BAUDRATEPRESCALER_4;
  hspi1.Init.FirstBit = SPI_FIRSTBIT_MSB;
  hspi1.Init.TIMode = SPI_TIMODE_DISABLE;
  hspi1.Init.CRCCalculation = SPI_CRCCALCULATION_DISABLE;
  hspi1.Init.CRCPolynomial = 0x0;
  hspi1.Init.NSSPMode = SPI_NSS_PULSE_ENABLE;
  hspi1.Init.NSSPolarity = SPI_NSS_POLARITY_LOW;
  hspi1.Init.FifoThreshold = SPI_FIFO_THRESHOLD_01DATA;
  hspi1.Init.TxCRCInitializationPattern = SPI_CRC_INITIALIZATION_ALL_ZERO_PATTERN;
  hspi1.Init.RxCRCInitializationPattern = SPI_CRC_INITIALIZATION_ALL_ZERO_PATTERN;
  hspi1.Init.MasterSSIdleness = SPI_MASTER_SS_IDLENESS_00CYCLE;
  hspi1.Init.MasterInterDataIdleness = SPI_MASTER_INTERDATA_IDLENESS_00CYCLE;
  hspi1.Init.MasterReceiverAutoSusp = SPI_MASTER_RX_AUTOSUSP_DISABLE;
  hspi1.Init.MasterKeepIOState = SPI_MASTER_KEEP_IO_STATE_ENABLE;
  hspi1.Init.IOSwap = SPI_IO_SWAP_DISABLE;
  if (HAL_SPI_Init(&hspi1) != HAL_OK)
  {
    Error_Handler();
  }

}

static void MX_SPI2_Init(void)
{

  /* SPI2 parameter configuration*/
  hspi2.Instance = SPI2;
  hspi2.Init.Mode = SPI_MODE_MASTER;
  hspi2.Init.Direction = SPI_DIRECTION_2LINES;
  hspi2.Init.DataSize = SPI_DATASIZE_8BIT;
  hspi2.Init.CLKPolarity = SPI_POLARITY_HIGH;
  hspi2.Init.CLKPhase = SPI_PHASE_2EDGE;
  hspi2.Init.NSS = SPI_NSS_SOFT;
  hspi2.Init.BaudRatePrescaler = SPI_BAUDRATEPRESCALER_64;
  hspi2.Init.FirstBit = SPI_FIRSTBIT_MSB;
  hspi2.Init.TIMode = SPI_TIMODE_DISABLE;
  hspi2.Init.CRCCalculation = SPI_CRCCALCULATION_DISABLE;
  hspi2.Init.CRCPolynomial = 0x0;
  hspi2.Init.NSSPMode = SPI_NSS_PULSE_ENABLE;
  hspi2.Init.NSSPolarity = SPI_NSS_POLARITY_LOW;
  hspi2.Init.FifoThreshold = SPI_FIFO_THRESHOLD_01DATA;
  hspi2.Init.TxCRCInitializationPattern = SPI_CRC_INITIALIZATION_ALL_ZERO_PATTERN;
  hspi2.Init.RxCRCInitializationPattern = SPI_CRC_INITIALIZATION_ALL_ZERO_PATTERN;
  hspi2.Init.MasterSSIdleness = SPI_MASTER_SS_IDLENESS_00CYCLE;
  hspi2.Init.MasterInterDataIdleness = SPI_MASTER_INTERDATA_IDLENESS_00CYCLE;
  hspi2.Init.MasterReceiverAutoSusp = SPI_MASTER_RX_AUTOSUSP_DISABLE;
  hspi2.Init.MasterKeepIOState = SPI_MASTER_KEEP_IO_STATE_ENABLE;
  hspi2.Init.IOSwap = SPI_IO_SWAP_DISABLE;
  if (HAL_SPI_Init(&hspi2) != HAL_OK)
  {
    Error_Handler();
  }

}

static void MX_TIM1_Init(void)
{

  TIM_MasterConfigTypeDef sMasterConfig = {0};
  TIM_OC_InitTypeDef sConfigOC = {0};
  TIM_BreakDeadTimeConfigTypeDef sBreakDeadTimeConfig = {0};

  htim1.Instance = TIM1;
  htim1.Init.Prescaler = 74;
  htim1.Init.CounterMode = TIM_COUNTERMODE_UP;
  htim1.Init.Period = 19999;
  htim1.Init.ClockDivision = TIM_CLOCKDIVISION_DIV1;
  htim1.Init.RepetitionCounter = 0;
  htim1.Init.AutoReloadPreload = TIM_AUTORELOAD_PRELOAD_DISABLE;
  if (HAL_TIM_PWM_Init(&htim1) != HAL_OK)
  {
    Error_Handler();
  }
  sMasterConfig.MasterOutputTrigger = TIM_TRGO_RESET;
  sMasterConfig.MasterOutputTrigger2 = TIM_TRGO2_RESET;
  sMasterConfig.MasterSlaveMode = TIM_MASTERSLAVEMODE_DISABLE;
  if (HAL_TIMEx_MasterConfigSynchronization(&htim1, &sMasterConfig) != HAL_OK)
  {
    Error_Handler();
  }
  sConfigOC.OCMode = TIM_OCMODE_PWM1;
  sConfigOC.Pulse = 1500;
  sConfigOC.OCPolarity = TIM_OCPOLARITY_HIGH;
  sConfigOC.OCNPolarity = TIM_OCNPOLARITY_HIGH;
  sConfigOC.OCFastMode = TIM_OCFAST_DISABLE;
  sConfigOC.OCIdleState = TIM_OCIDLESTATE_RESET;
  sConfigOC.OCNIdleState = TIM_OCNIDLESTATE_RESET;
  if (HAL_TIM_PWM_ConfigChannel(&htim1, &sConfigOC, TIM_CHANNEL_1) != HAL_OK)
  {
    Error_Handler();
  }
  sBreakDeadTimeConfig.OffStateRunMode = TIM_OSSR_DISABLE;
  sBreakDeadTimeConfig.OffStateIDLEMode = TIM_OSSI_DISABLE;
  sBreakDeadTimeConfig.LockLevel = TIM_LOCKLEVEL_OFF;
  sBreakDeadTimeConfig.DeadTime = 0;
  sBreakDeadTimeConfig.BreakState = TIM_BREAK_DISABLE;
  sBreakDeadTimeConfig.BreakPolarity = TIM_BREAKPOLARITY_HIGH;
  sBreakDeadTimeConfig.BreakFilter = 0;
  sBreakDeadTimeConfig.Break2State = TIM_BREAK2_DISABLE;
  sBreakDeadTimeConfig.Break2Polarity = TIM_BREAK2POLARITY_HIGH;
  sBreakDeadTimeConfig.Break2Filter = 0;
  sBreakDeadTimeConfig.AutomaticOutput = TIM_AUTOMATICOUTPUT_DISABLE;
  if (HAL_TIMEx_ConfigBreakDeadTime(&htim1, &sBreakDeadTimeConfig) != HAL_OK)
  {
    Error_Handler();
  }
  HAL_TIM_MspPostInit(&htim1);

}

static void MX_TIM2_Init(void)
{

  TIM_MasterConfigTypeDef sMasterConfig = {0};
  TIM_IC_InitTypeDef sConfigIC = {0};

  htim2.Instance = TIM2;
  htim2.Init.Prescaler = 74;
  htim2.Init.CounterMode = TIM_COUNTERMODE_UP;
  htim2.Init.Period = 4294967295;
  htim2.Init.ClockDivision = TIM_CLOCKDIVISION_DIV1;
  htim2.Init.AutoReloadPreload = TIM_AUTORELOAD_PRELOAD_DISABLE;
  if (HAL_TIM_IC_Init(&htim2) != HAL_OK)
  {
    Error_Handler();
  }
  sMasterConfig.MasterOutputTrigger = TIM_TRGO_RESET;
  sMasterConfig.MasterSlaveMode = TIM_MASTERSLAVEMODE_DISABLE;
  if (HAL_TIMEx_MasterConfigSynchronization(&htim2, &sMasterConfig) != HAL_OK)
  {
    Error_Handler();
  }
  sConfigIC.ICPolarity = TIM_INPUTCHANNELPOLARITY_RISING;
  sConfigIC.ICSelection = TIM_ICSELECTION_DIRECTTI;
  sConfigIC.ICPrescaler = TIM_ICPSC_DIV1;
  sConfigIC.ICFilter = 0;
  if (HAL_TIM_IC_ConfigChannel(&htim2, &sConfigIC, TIM_CHANNEL_1) != HAL_OK)
  {
    Error_Handler();
  }

}

static void MX_TIM4_Init(void)
{

  TIM_MasterConfigTypeDef sMasterConfig = {0};
  TIM_OC_InitTypeDef sConfigOC = {0};

  htim4.Instance = TIM4;
  htim4.Init.Prescaler = 74;
  htim4.Init.CounterMode = TIM_COUNTERMODE_UP;
  htim4.Init.Period = 369;
  htim4.Init.ClockDivision = TIM_CLOCKDIVISION_DIV1;
  htim4.Init.AutoReloadPreload = TIM_AUTORELOAD_PRELOAD_DISABLE;
  if (HAL_TIM_PWM_Init(&htim4) != HAL_OK)
  {
    Error_Handler();
  }
  sMasterConfig.MasterOutputTrigger = TIM_TRGO_RESET;
  sMasterConfig.MasterSlaveMode = TIM_MASTERSLAVEMODE_DISABLE;
  if (HAL_TIMEx_MasterConfigSynchronization(&htim4, &sMasterConfig) != HAL_OK)
  {
    Error_Handler();
  }
  sConfigOC.OCMode = TIM_OCMODE_PWM1;
  sConfigOC.Pulse = 185;
  sConfigOC.OCPolarity = TIM_OCPOLARITY_HIGH;
  sConfigOC.OCFastMode = TIM_OCFAST_DISABLE;
  if (HAL_TIM_PWM_ConfigChannel(&htim4, &sConfigOC, TIM_CHANNEL_3) != HAL_OK)
  {
    Error_Handler();
  }
  HAL_TIM_MspPostInit(&htim4);

}

static void MX_GPIO_Init(void)
{
  GPIO_InitTypeDef GPIO_InitStruct = {0};

  /* GPIO Ports Clock Enable */
  __HAL_RCC_GPIOE_CLK_ENABLE();
  __HAL_RCC_GPIOF_CLK_ENABLE();
  __HAL_RCC_GPIOH_CLK_ENABLE();
  __HAL_RCC_GPIOC_CLK_ENABLE();
  __HAL_RCC_GPIOA_CLK_ENABLE();
  __HAL_RCC_GPIOB_CLK_ENABLE();
  __HAL_RCC_GPIOD_CLK_ENABLE();
  __HAL_RCC_GPIOG_CLK_ENABLE();

  /*Configure GPIO pin Output Level */
  HAL_GPIO_WritePin(GPIOE, Chip_Select_IMU_Pin|Chip_Select_aceler_metro_de_altas_g_Pin|Chip_Select_magnet_metro_Pin, GPIO_PIN_SET);

  /*Configure GPIO pins : Chip_Select_IMU_Pin Chip_Select_aceler_metro_de_altas_g_Pin Chip_Select_magnet_metro_Pin */
  GPIO_InitStruct.Pin = Chip_Select_IMU_Pin|Chip_Select_aceler_metro_de_altas_g_Pin|Chip_Select_magnet_metro_Pin;
  GPIO_InitStruct.Mode = GPIO_MODE_OUTPUT_PP;
  GPIO_InitStruct.Pull = GPIO_NOPULL;
  GPIO_InitStruct.Speed = GPIO_SPEED_FREQ_LOW;
  HAL_GPIO_Init(GPIOE, &GPIO_InitStruct);

  /*Configure GPIO pins : interrupciones_sensores_Pin interrupciones_sensoresE7_Pin interrupciones_sensoresE8_Pin */
  GPIO_InitStruct.Pin = interrupciones_sensores_Pin|interrupciones_sensoresE7_Pin|interrupciones_sensoresE8_Pin;
  GPIO_InitStruct.Mode = GPIO_MODE_IT_RISING;
  GPIO_InitStruct.Pull = GPIO_NOPULL;
  HAL_GPIO_Init(GPIOE, &GPIO_InitStruct);

  /*Configure GPIO pins : breakwire_1_Pin breakwire_2_Pin */
  GPIO_InitStruct.Pin = breakwire_1_Pin|breakwire_2_Pin;
  GPIO_InitStruct.Mode = GPIO_MODE_IT_RISING_FALLING;
  GPIO_InitStruct.Pull = GPIO_PULLUP;
  HAL_GPIO_Init(GPIOE, &GPIO_InitStruct);

  /*Configure GPIO pin : interruptor_de_armado_Pin */
  GPIO_InitStruct.Pin = interruptor_de_armado_Pin;
  GPIO_InitStruct.Mode = GPIO_MODE_INPUT;
  GPIO_InitStruct.Pull = GPIO_PULLUP;
  HAL_GPIO_Init(interruptor_de_armado_GPIO_Port, &GPIO_InitStruct);

  /* EXTI interrupt init*/
  HAL_NVIC_SetPriority(interrupciones_sensores_EXTI_IRQn, 0, 0);
  HAL_NVIC_EnableIRQ(interrupciones_sensores_EXTI_IRQn);

  HAL_NVIC_SetPriority(breakwire_1_EXTI_IRQn, 0, 0);
  HAL_NVIC_EnableIRQ(breakwire_1_EXTI_IRQn);

}

 /* MPU Configuration */

void MPU_Config(void)
{
  MPU_Region_InitTypeDef MPU_InitStruct = {0};

  /* Disables the MPU */
  HAL_MPU_Disable();

  /** Initializes and configures the Region and the memory to be protected
  */
  MPU_InitStruct.Enable = MPU_REGION_ENABLE;
  MPU_InitStruct.Number = MPU_REGION_NUMBER0;
  MPU_InitStruct.BaseAddress = 0x0;
  MPU_InitStruct.Size = MPU_REGION_SIZE_4GB;
  MPU_InitStruct.SubRegionDisable = 0x87;
  MPU_InitStruct.TypeExtField = MPU_TEX_LEVEL0;
  MPU_InitStruct.AccessPermission = MPU_REGION_NO_ACCESS;
  MPU_InitStruct.DisableExec = MPU_INSTRUCTION_ACCESS_DISABLE;
  MPU_InitStruct.IsShareable = MPU_ACCESS_SHAREABLE;
  MPU_InitStruct.IsCacheable = MPU_ACCESS_NOT_CACHEABLE;
  MPU_InitStruct.IsBufferable = MPU_ACCESS_NOT_BUFFERABLE;

  HAL_MPU_ConfigRegion(&MPU_InitStruct);
  /* Enables the MPU */
  HAL_MPU_Enable(MPU_PRIVILEGED_DEFAULT);

}

void Error_Handler(void)
{
  __disable_irq();
  while (1)
  {
  }
}
